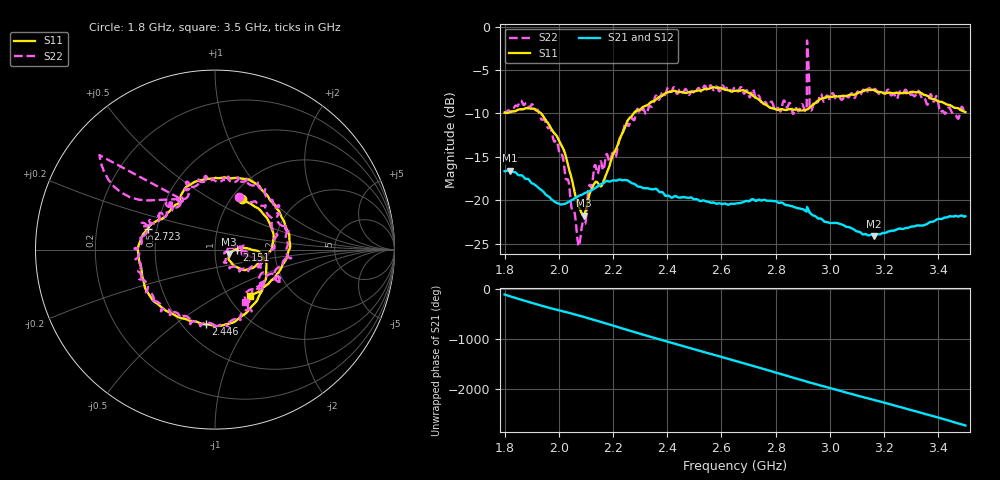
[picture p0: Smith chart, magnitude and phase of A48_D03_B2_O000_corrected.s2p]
! Created with skrf 1.9.0 (http://scikit-rf.org).
# Hz S RI R 50.0
!freq ReS11 ImS11 ReS21 ImS21 ReS12 ImS12 ReS22 ImS22
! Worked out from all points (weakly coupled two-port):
!   1601 points, 1.8 GHz to 3.5 GHz, reference 50 ohm
!   highest |S21| = -16.59 dB at 1.819 GHz (marker M1); lowest = -24.1 dB at 3.163 GHz (marker M2)
!   lowest |S11| = -21.8 dB at 2.091 GHz (marker M3), VSWR 1.18, Z = 58.4 - j2.87 ohm
!   |S11| at or under -10 dB: 1.934 GHz to 2.276 GHz (341.8 MHz wide, 16.2 % of centre)
!   |S22| runs from -25.3 to -1.6 dB; largest |S21 - S12| = 0.0025
!   S11 on the Smith chart (normalised r, x): 1.8 GHz: 1.12, +0.70; 2.151 GHz: 1.28, -0.00; 2.446 GHz: 0.65, -0.65; 2.723 GHz: 0.45, +0.12; 3.5 GHz: 1.25, -0.72
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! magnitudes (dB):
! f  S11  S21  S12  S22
! 1.8 GHz  -9.9  -16.7  -16.7  -9.9
! 1.819 GHz  -9.9  -16.6  -16.6  -9.7
! 1.902 GHz  -9.4  -18.1  -18.0  -9.0
! 1.968 GHz  -11.5  -19.7  -19.8  -11.7
! 2.014 GHz  -13.9  -20.5  -20.5  -14.9
! 2.071 GHz  -20.5  -19.6  -19.6  -25.0
! 2.084 GHz  -21.4  -19.4  -19.3  -23.3
! 2.091 GHz  -21.8  -19.3  -19.3  -22.5
! 2.129 GHz  -18.2  -18.7  -18.7  -16.4
! 2.151 GHz  -18.3  -18.2  -18.2  -15.8
! 2.258 GHz  -10.6  -17.8  -17.8  -11.4
! 2.367 GHz  -8.2  -18.9  -18.9  -8.4
! 2.446 GHz  -7.5  -19.7  -19.7  -7.2
! 2.65 GHz  -7.4  -20.4  -20.4  -7.0
! 2.723 GHz  -8.1  -20.0  -20.0  -7.9
! 2.868 GHz  -9.6  -20.8  -20.8  -9.9
! 2.906 GHz  -9.6  -21.1  -21.1  -9.5
! 2.924 GHz  -9.4  -21.3  -21.3  -6.7
! 2.934 GHz  -9.1  -21.7  -21.6  -9.6
! 3.163 GHz  -7.3  -24.1  -24.1  -7.2
! 3.217 GHz  -7.6  -23.6  -23.6  -7.4
! 3.5 GHz  -9.8  -21.8  -21.8  -9.5
